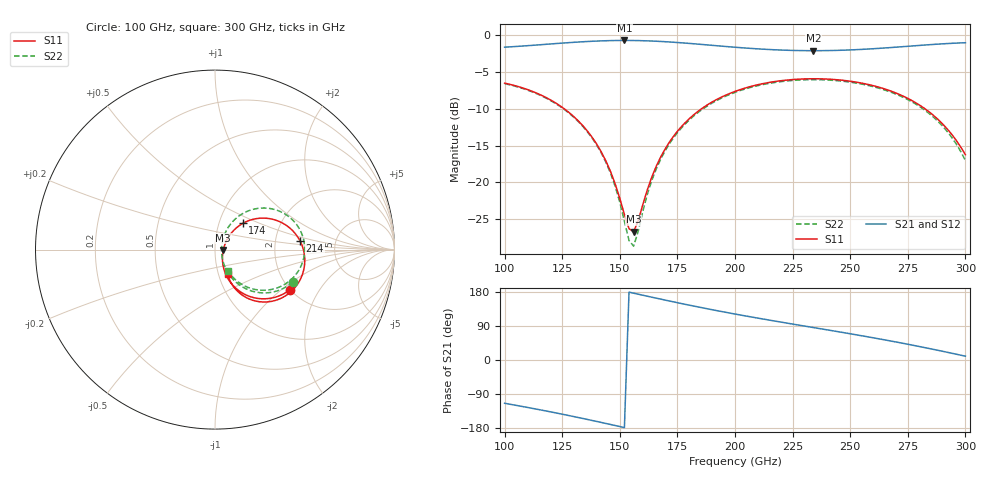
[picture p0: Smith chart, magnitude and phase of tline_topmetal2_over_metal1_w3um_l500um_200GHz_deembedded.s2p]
! Created with skrf 2.0.1 (http://scikit-rf.org).
# GHz S DB R 50.0
!freq dBS11 angS11 dBS21 angS21 dBS12 angS12 dBS22 angS22
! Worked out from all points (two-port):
!   101 points, 100 GHz to 300 GHz, reference 50 ohm
!   highest |S21| = -0.69 dB at 152 GHz (marker M1); lowest = -2.1 dB at 234 GHz (marker M2)
!   |S21| within 3 dB of the highest: start of sweep to end of sweep
!   lowest |S11| = -26.7 dB at 156 GHz (marker M3), VSWR 1.10, Z = 54.8 - j0.187 ohm
!   |S11| at or under -10 dB: 126 GHz to 185.4 GHz (59.46 GHz wide, 38.2 % of centre); 282.5 GHz to end of sweep
!   |S22| runs from -28.7 to -6.0 dB; largest |S21 - S12| = 1e-13
!   S11 on the Smith chart (normalised r, x): 100 GHz: 1.99, -1.15; 174 GHz: 1.30, +0.40; 214 GHz: 2.77, +0.35; 300 GHz: 1.10, -0.31
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100  -6.49 -28.3  -1.60 -114.2  -1.60 -114.2  -6.56 -22.5
120  -8.79 -48.5  -1.16 -136.9  -1.16 -136.9  -8.87 -42.0
134  -12.30 -61.9  -0.86 -154.4  -0.86 -154.4  -12.39 -55.3
140  -14.81 -65.8  -0.77 -162.2  -0.77 -162.2  -14.93 -59.6
144  -17.11 -66.4  -0.72 -167.5  -0.72 -167.5  -17.28 -60.9
148  -20.21 -62.8  -0.70 -172.9  -0.70 -172.9  -20.54 -58.5
152  -24.37 -46.9  -0.69 -178.3  -0.69 -178.3  -25.29 -44.4
154  -26.30 -28.1  -0.69 179.0  -0.69 179.0  -27.91 -24.3
156  -26.71 -2.1  -0.70 176.3  -0.70 176.3  -28.67 8.0
158  -25.19 20.2  -0.71 173.6  -0.71 173.6  -26.63 34.9
162  -20.95 40.4  -0.74 168.3  -0.74 168.3  -21.57 55.3
168  -16.39 45.8  -0.83 160.3  -0.83 160.3  -16.68 59.3
174  -13.44 43.4  -0.94 152.5  -0.94 152.5  -13.64 56.3
186  -9.87 33.1  -1.24 137.6  -1.24 137.6  -10.02 45.8
200  -7.62 19.4  -1.61 121.3  -1.61 121.3  -7.75 32.3
214  -6.45 5.9  -1.90 106.2  -1.90 106.2  -6.57 19.1
234  -5.90 -12.8  -2.08 85.7  -2.08 85.7  -6.02 0.8
250  -6.23 -27.6  -1.97 69.2  -1.97 69.2  -6.36 -13.9
268  -7.61 -44.3  -1.64 49.7  -1.64 49.7  -7.76 -31.2
286  -10.84 -59.8  -1.23 28.2  -1.23 28.2  -11.08 -48.9
294  -13.44 -64.1  -1.08 18.0  -1.08 18.0  -13.84 -55.8
300  -16.23 -63.1  -1.00 10.1  -1.00 10.1  -17.02 -58.7
